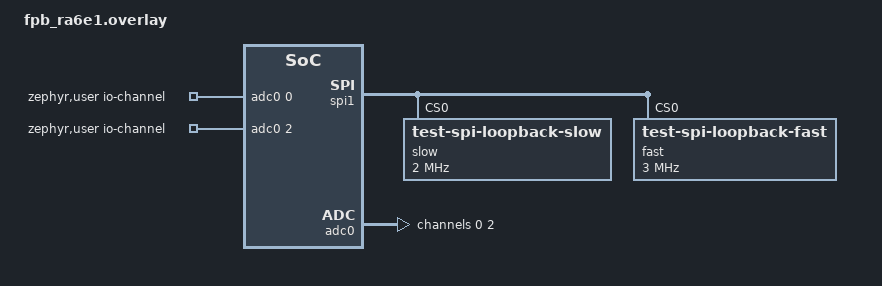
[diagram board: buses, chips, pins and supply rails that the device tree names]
/*
 * Copyright (c) 2025 Renesas Electronics Corporation
 *
 * SPDX-License-Identifier: Apache-2.0
 */

tst_dma0: &dma0 {};

&dma0 {
	status = "okay";
	interrupts = <95 1>, <94 1>, <93 1>;
	interrupt-names = "ch0", "ch1", "ch2";
};

&spi1 {
	rx-dtc;
	tx-dtc;
	slow@0 {
		compatible = "test-spi-loopback-slow";
		reg = <0>;
		spi-max-frequency = <2000000>;
	};
	fast@0 {
		compatible = "test-spi-loopback-fast";
		reg = <0>;
		spi-max-frequency = <3000000>;
	};
};

/ {
	zephyr,user {
		io-channels = <&adc0 0>, <&adc0 2>;
	};
};

&adc0 {
	status = "okay";
	#address-cells = <1>;
	#size-cells = <0>;
	channel@0 {
		reg = <0>;
		zephyr,gain = "ADC_GAIN_1";
		zephyr,reference = "ADC_REF_INTERNAL";
		zephyr,resolution = <12>;
		zephyr,acquisition-time = <ADC_ACQ_TIME_DEFAULT>;
		zephyr,vref-mv = <3300>;
	};
	channel@2 {
		reg = <2>;
		zephyr,gain = "ADC_GAIN_1";
		zephyr,reference = "ADC_REF_INTERNAL";
		zephyr,resolution = <12>;
		zephyr,acquisition-time = <ADC_ACQ_TIME_DEFAULT>;
		zephyr,vref-mv = <3300>;
	};
};
